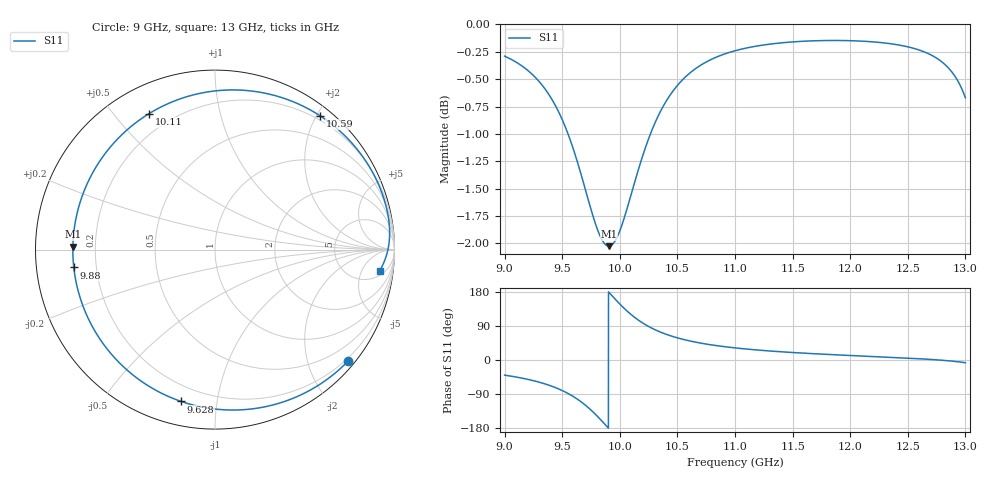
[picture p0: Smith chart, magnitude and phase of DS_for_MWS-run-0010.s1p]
! TOUCHSTONE file generated by CST DESIGN STUDIO
! Date and time: Wed Feb  5 13:27:56 2025
! Project name: C:\Work\MatlabApps\UnitCellOptimizationMatlab\CST\unitcell.cst
! Tree item: Tasks\Sweep1\SPara1\S-Parameters
! Header version: 2024
! Port assignment regex: !\s*Touchstone port\s*([0-9]+)\s*=\s*(CST MWS port|CST DES external port|CST DES block port)\s*(.+)\s* \(\"(.*)\"\)(\s*mode\s*([0-9]+))?.*
! Touchstone port assignment:
! Touchstone port 1 = CST DES external port 1 ("")
# GHz S MA R 50
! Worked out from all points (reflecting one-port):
!   4001 points, 9 GHz to 13 GHz, reference 50 ohm
!   lowest |S11| = -2.0 dB at 9.905 GHz (marker M1), VSWR 8.62, Z = 5.8 + j0.52 ohm
!   phase of S11 starts at -40 deg and turns -327 deg over the sweep
!   S11 on the Smith chart (normalised r, x): 9 GHz: 0.14, -2.75; 9.628 GHz: 0.12, -0.79; 9.88 GHz: 0.12, -0.06; 10.11 GHz: 0.12, +0.62; 10.59 GHz: 0.14, +2.05; 13 GHz: 7, -12
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9  0.9672 -39.9
9.147  0.9576 -47.6
9.28  0.9442 -56.9
9.395  0.9271 -67.6
9.5  0.9048 -80.6
9.568  0.8861 -91.3
9.628  0.8668 -102.6
9.691  0.8443 -116.7
9.75  0.8233 -132.1
9.82  0.8026 -153.1
9.88  0.793 -172.8
9.905  0.7921 178.8
9.951  0.7953 163.4
10  0.8049 147.7
10.057  0.8219 130.9
10.114  0.8418 116.0
10.184  0.8662 100.5
10.264  0.8908 86.2
10.377  0.9176 70.7
10.5  0.9379 58.4
10.585  0.9479 51.8
10.769  0.9624 41.1
11  0.9727 31.9
11.5  0.9818 19.7
12  0.983 11.9
12.5  0.9767 4.9
12.789  0.962 -0.4
13  0.9258 -7.2
